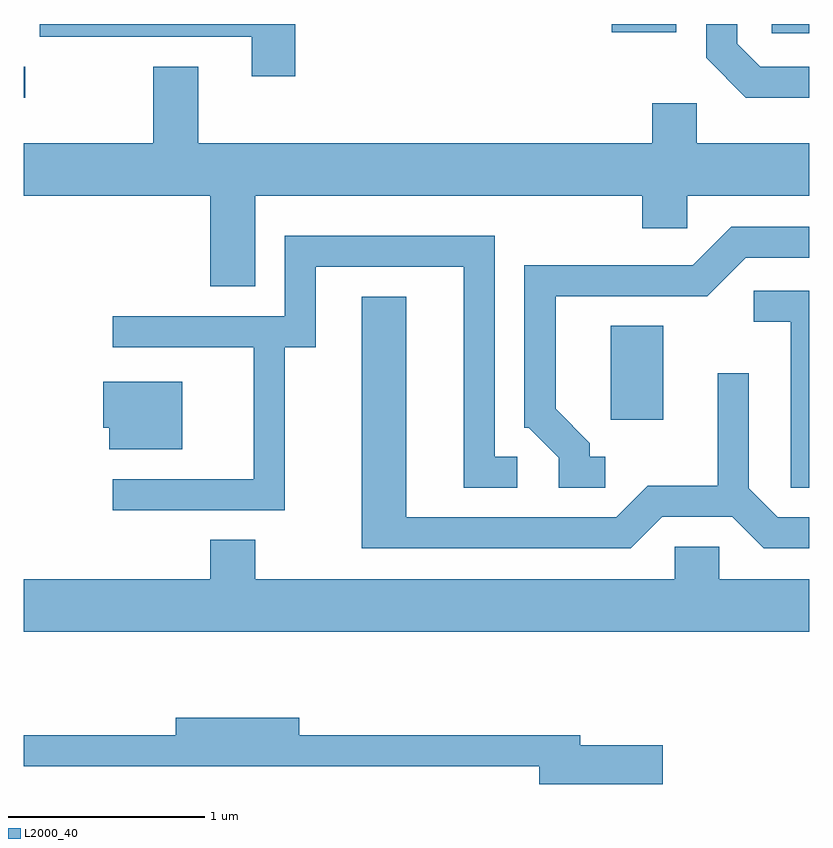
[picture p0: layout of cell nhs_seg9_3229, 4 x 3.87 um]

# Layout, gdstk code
import gdstk
lib = gdstk.Library(unit=1e-6, precision=1e-09)
def R(c, l, rs):  # rectangles x0, y0, x1, y1
    for r in rs: c.add(gdstk.rectangle(r[:2], r[2:], *l))
def P(c, l, *ps):  # polygons
    for p in ps: c.add(gdstk.Polygon(p, *l))
L2000_40 = (2000, 40)

nhs_seg9_3229 = lib.new_cell('nhs_seg9_3229')
R(nhs_seg9_3229, L2000_40, [(282.601,2028.416,282.869,2028.894), (279.611,2030.056,279.618,2030.214), (283.421,2030.386,283.611,2030.432), (282.606,2030.391,282.934,2030.432)])
P(nhs_seg9_3229, L2000_40, [(283.611,2030.214),(283.362,2030.214),(283.244,2030.332),(283.244,2030.432),(283.086,2030.432),(283.086,2030.259),(283.289,2030.056),(283.611,2030.056)],
  [(280.994,2030.432),(279.691,2030.432),(279.691,2030.366),(280.771,2030.366),(280.771,2030.166),(280.994,2030.166)],
  [(280.789,2029.556),(282.761,2029.556),(282.761,2029.391),(282.989,2029.391),(282.989,2029.556),(283.611,2029.556),(283.611,2029.824),(283.039,2029.824),(283.039,2030.029),(282.811,2030.029),(282.811,2029.824),(280.499,2029.824),(280.499,2030.214),(280.271,2030.214),(280.271,2029.824),(279.611,2029.824),(279.611,2029.556),(280.561,2029.556),(280.561,2029.096),(280.789,2029.096)],
  [(282.573,2028.229),(282.494,2028.229),(282.494,2028.297),(282.319,2028.472),(282.319,2029.046),(283.092,2029.046),(283.287,2029.241),(283.611,2029.241),(283.611,2029.399),(283.214,2029.399),(283.019,2029.204),(282.161,2029.204),(282.161,2028.376),(282.184,2028.376),(282.336,2028.224),(282.336,2028.071),(282.573,2028.071)],
  [(280.939,2028.786),(281.099,2028.786),(281.099,2029.196),(281.851,2029.196),(281.851,2028.071),(282.123,2028.071),(282.123,2028.229),(282.009,2028.229),(282.009,2029.354),(280.941,2029.354),(280.941,2028.944),(280.063,2028.944),(280.063,2028.786),(280.781,2028.786),(280.781,2028.114),(280.063,2028.114),(280.063,2027.956),(280.939,2027.956)],
  [(283.611,2029.074),(283.328,2029.074),(283.328,2028.916),(283.516,2028.916),(283.516,2028.071),(283.611,2028.071)],
  [(282.862,2027.921),(283.219,2027.921),(283.379,2027.761),(283.611,2027.761),(283.611,2027.919),(283.452,2027.919),(283.304,2028.067),(283.304,2028.653),(283.146,2028.653),(283.146,2028.079),(282.789,2028.079),(282.629,2027.919),(281.559,2027.919),(281.559,2029.044),(281.331,2029.044),(281.331,2027.761),(282.702,2027.761)],
  [(280.419,2028.609),(280.016,2028.609),(280.016,2028.376),(280.046,2028.376),(280.046,2028.266),(280.419,2028.266)],
  [(283.611,2027.604),(283.154,2027.604),(283.154,2027.769),(282.926,2027.769),(282.926,2027.604),(280.789,2027.604),(280.789,2027.804),(280.561,2027.804),(280.561,2027.604),(279.611,2027.604),(279.611,2027.336),(283.611,2027.336)],
  [(282.864,2026.759),(282.444,2026.759),(282.444,2026.809),(281.014,2026.809),(281.014,2026.899),(280.386,2026.899),(280.386,2026.809),(279.611,2026.809),(279.611,2026.651),(282.236,2026.651),(282.236,2026.561),(282.864,2026.561)])

lib.write_gds('nhs_seg9_3229.gds')
